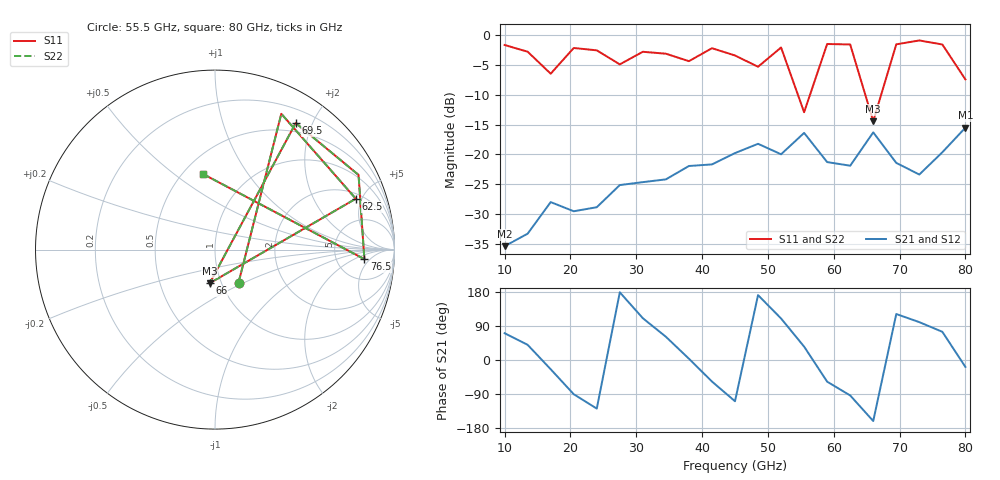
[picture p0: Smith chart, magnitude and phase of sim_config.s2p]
# GHz S DB R 50
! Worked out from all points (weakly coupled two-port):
!   21 points, 10 GHz to 80 GHz, reference 50 ohm
!   highest |S21| = -15.52 dB at 80 GHz (marker M1); lowest = -35.4 dB at 10 GHz (marker M2)
!   lowest |S11| = -14.4 dB at 66 GHz (marker M3), VSWR 1.47, Z = 44 - j17.1 ohm
!   |S11| at or under -10 dB: 54.55 GHz to 56.4 GHz (1.842 GHz wide, 3.32 % of centre); 64.79 GHz to 67.2 GHz (2.411 GHz wide, 3.65 % of centre)
!   |S22| runs from -14.4 to -0.9 dB; largest |S21 - S12| = 0
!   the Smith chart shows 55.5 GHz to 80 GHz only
!   S11 on the Smith chart (normalised r, x): 55.5 GHz: 1.20, -0.47; 62.5 GHz: 2.40, +4.47; 66 GHz: 0.88, -0.34; 69.5 GHz: 0.38, +1.76; 76.5 GHz: 10, -3; 80 GHz: 0.63, +0.64
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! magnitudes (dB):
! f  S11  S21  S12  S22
! 10 GHz  -1.7  -35.4  -35.4  -1.7
! 13.5 GHz  -2.8  -33.3  -33.3  -2.8
! 17 GHz  -6.5  -28.0  -28.0  -6.5
! 20.5 GHz  -2.2  -29.5  -29.5  -2.2
! 24 GHz  -2.6  -28.9  -28.9  -2.6
! 27.5 GHz  -4.9  -25.1  -25.1  -4.9
! 31 GHz  -2.8  -24.7  -24.7  -2.8
! 34.5 GHz  -3.1  -24.2  -24.2  -3.1
! 38 GHz  -4.4  -21.9  -21.9  -4.4
! 41.5 GHz  -2.2  -21.7  -21.7  -2.2
! 45 GHz  -3.4  -19.8  -19.8  -3.4
! 48.5 GHz  -5.3  -18.2  -18.2  -5.3
! 52 GHz  -2.1  -20.0  -20.0  -2.1
! 55.5 GHz  -12.9  -16.4  -16.4  -12.9
! 59 GHz  -1.5  -21.3  -21.3  -1.5
! 62.5 GHz  -1.6  -21.9  -21.9  -1.6
! 66 GHz  -14.4  -16.3  -16.3  -14.4
! 69.5 GHz  -1.6  -21.4  -21.4  -1.6
! 73 GHz  -0.9  -23.4  -23.4  -0.9
! 76.5 GHz  -1.6  -19.6  -19.6  -1.6
! 80 GHz  -7.4  -15.5  -15.5  -7.4
